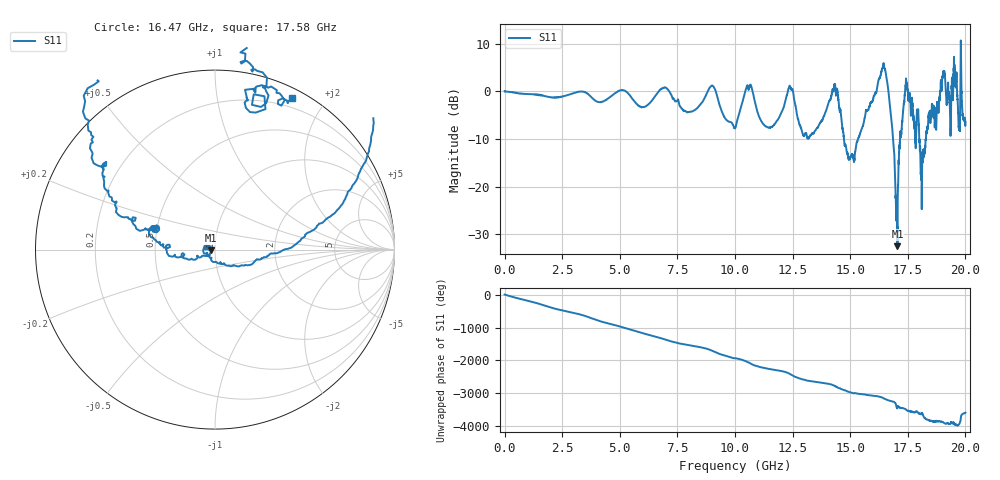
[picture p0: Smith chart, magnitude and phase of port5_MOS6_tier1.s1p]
! Created with skrf 1.8.0 (http://scikit-rf.org).
# GHz S RI R 50.0
!freq ReS11 ImS11
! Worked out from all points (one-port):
!   10000 points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, 3 MHz to 20 GHz, reference 50 ohm
!   lowest |S11| = -32.4 dB at 17.05 GHz (marker M1), VSWR 1.05, Z = 47.7 - j0.332 ohm
!   |S11| at or under -10 dB: 14.73 GHz to 15.34 GHz (609.4 MHz wide, 4.05 % of centre); 16.86 GHz to 17.17 GHz (306.1 MHz wide, 1.8 % of centre); 18 GHz to 18.29 GHz (289.7 MHz wide, 1.6 % of centre) (the widest 3 of 5)
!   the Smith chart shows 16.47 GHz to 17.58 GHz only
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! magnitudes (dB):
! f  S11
! 3 MHz  0.0
! 2.503 GHz  -1.1
! 5.003 GHz  0.2
! 7.503 GHz  -1.9
! 8.187 GHz  -4.1
! 9.029 GHz  1.2
! 10 GHz  -7.8
! 10.59 GHz  0.4
! 11.45 GHz  -7.6
! 12.5 GHz  0.3
! 13.21 GHz  -9.8
! 14.36 GHz  0.5
! 15 GHz  -14.0
! 16.45 GHz  5.7
! 16.7 GHz  -1.9
! 16.97 GHz  -21.3
! 17.05 GHz  -32.4
! 17.34 GHz  -2.2
! 17.5 GHz  0.0
! 17.95 GHz  -4.0
! 18.12 GHz  -16.2
! 18.48 GHz  -6.0
! 18.75 GHz  -4.4
! 19.03 GHz  2.9
! 19.28 GHz  -0.4
! 19.57 GHz  1.6
! 19.67 GHz  -3.1
! 20 GHz  -6.5
